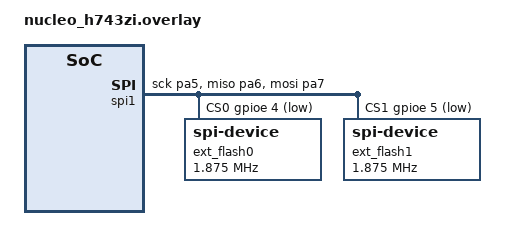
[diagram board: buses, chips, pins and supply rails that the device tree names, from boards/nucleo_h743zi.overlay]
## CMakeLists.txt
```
# Copyright (c) 2026 The FINCH CubeSat Project Flight Software Contributors
# SPDX-License-Identifier: Apache-2.0

cmake_minimum_required(VERSION 3.20.0)

list(APPEND DTS_ROOT ${CMAKE_CURRENT_SOURCE_DIR})

find_package(Zephyr REQUIRED HINTS $ENV{ZEPHYR_BASE})

project(external_flash_id_test)

target_sources(app PRIVATE src/main.c)
```

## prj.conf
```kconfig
# SPDX-License-Identifier: Apache-2.0

CONFIG_ZTEST=y

CONFIG_LOG=y
CONFIG_LOG_DEFAULT_LEVEL=3
CONFIG_COMPILER_WARNINGS_AS_ERRORS=y

CONFIG_GPIO=y
CONFIG_SPI=y
CONFIG_SERIAL=y
CONFIG_CONSOLE=y
CONFIG_UART_CONSOLE=y
CONFIG_PRINTK=y

# Keep data-changing flash/filesystem drivers out of this standalone test.
CONFIG_FLASH=n
CONFIG_FILE_SYSTEM=n
```

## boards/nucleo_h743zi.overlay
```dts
/*
 * Copyright (c) 2026 The FINCH CubeSat Project Flight Software Contributors
 *
 * SPDX-License-Identifier: Apache-2.0
 *
 * Test-only SPI routing for the dual external SEMPER flash board:
 *   SCLK  -> PA5 (SPI1_SCK)
 *   MISO  -> PA6 (SPI1_MISO)
 *   MOSI  -> PA7 (SPI1_MOSI)
 *   nCS0  -> PE4
 *   nCS1  -> PE5
 *
 * PA7 conflicts with Ethernet RMII_CRS_DV, so Ethernet is disabled for
 * this test. The child nodes use the test-local driverless SPI binding: the test
 * performs raw, non-destructive identification transactions without a flash
 * driver.
 */

#include <zephyr/dt-bindings/gpio/gpio.h>

&mac {
	status = "disabled";
};

&mdio {
	status = "disabled";
};

&spi1 {
	pinctrl-0 = <&spi1_sck_pa5 &spi1_miso_pa6 &spi1_mosi_pa7>;
	pinctrl-names = "default";
	cs-gpios = <&gpioe 4 (GPIO_ACTIVE_LOW | GPIO_PULL_UP)>,
		   <&gpioe 5 (GPIO_ACTIVE_LOW | GPIO_PULL_UP)>;
	status = "okay";

	ext_flash0: flash-id@0 {
		compatible = "zephyr,spi-device";
		reg = <0>;
		spi-max-frequency = <1875000>;
		spi-cs-setup-delay-ns = <1000>;
		spi-cs-hold-delay-ns = <1000>;
	};

	ext_flash1: flash-id@1 {
		compatible = "zephyr,spi-device";
		reg = <1>;
		spi-max-frequency = <1875000>;
		spi-cs-setup-delay-ns = <1000>;
		spi-cs-hold-delay-ns = <1000>;
	};
};
```

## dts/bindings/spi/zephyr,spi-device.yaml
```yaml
# Copyright (c) 2026 The FINCH CubeSat Project Flight Software Contributors
# SPDX-License-Identifier: Apache-2.0

description: Driverless SPI device for the external flash identification test
compatible: "zephyr,spi-device"
include: spi-device.yaml
```

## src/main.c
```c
/*
 * Copyright (c) 2026 The FINCH CubeSat Project Flight Software Contributors
 * SPDX-License-Identifier: Apache-2.0
 */

#include <errno.h>
#include <stddef.h>
#include <stdint.h>
#include <string.h>
#include <zephyr/device.h>
#include <zephyr/devicetree.h>
#include <zephyr/drivers/gpio.h>
#include <zephyr/drivers/spi.h>
#include <zephyr/kernel.h>
#include <zephyr/sys/printk.h>
#include <zephyr/sys/util.h>
#include <zephyr/ztest.h>

#define FLASH_SPI_OPERATION (SPI_OP_MODE_MASTER | SPI_WORD_SET(8) | SPI_TRANSFER_MSB)

BUILD_ASSERT(!IS_ENABLED(CONFIG_FINCH_OBC_FLASH) &&
	     !IS_ENABLED(CONFIG_FINCH_OBC_LITTLEFS) && !IS_ENABLED(CONFIG_FLASH) &&
	     !IS_ENABLED(CONFIG_FILE_SYSTEM), "This test must remain standalone and read-only");

static const struct spi_dt_spec flashes[] = {
	SPI_DT_SPEC_GET(DT_NODELABEL(ext_flash0), FLASH_SPI_OPERATION),
	SPI_DT_SPEC_GET(DT_NODELABEL(ext_flash1), FLASH_SPI_OPERATION),
};

/* Only these four read commands may reach the bus. No flash driver is enabled.
 * RDID/RDSR2/RDCR require factory VRGLAT=0 (CFR3V[7:6]). No mode changes.
 */
static int read_command(size_t index, uint8_t command, uint8_t *data, size_t length)
{
	uint8_t tx[7] = {command};
	uint8_t rx[sizeof(tx)] = {0};

	if (index >= ARRAY_SIZE(flashes) || data == NULL || length >= sizeof(tx) ||
	    !((command == 0x9f && length == 6) ||
	      ((command == 0x05 || command == 0x07 || command == 0x35) && length == 1))) {
		return -EINVAL;
	}

	struct spi_buf tx_buf = {.buf = tx, .len = length + 1};
	struct spi_buf rx_buf = {.buf = rx, .len = length + 1};
	const struct spi_buf_set tx_set = {.buffers = &tx_buf, .count = 1};
	const struct spi_buf_set rx_set = {.buffers = &rx_buf, .count = 1};
	int ret = spi_transceive_dt(&flashes[index], &tx_set, &rx_set);

	if (ret == 0) {
		memcpy(data, &rx[1], length);
	}
	return ret;
}

static void *setup(void)
{
	/* Deassert BOTH CS lines before either chip receives clocks. */
	for (size_t i = 0; i < ARRAY_SIZE(flashes); i++) {
		zassert_true(spi_cs_is_gpio_dt(&flashes[i]), "GPIO chip select missing");
		zassert_true(spi_is_ready_dt(&flashes[i]), "SPI or PE%u CS not ready",
			     (unsigned int)(i + 4));
		zassert_equal(flashes[i].config.cs.gpio.port, DEVICE_DT_GET(DT_NODELABEL(gpioe)),
			      "Expected GPIOE chip select");
		zassert_equal(flashes[i].config.cs.gpio.pin, i + 4, "Expected PE4/PE5");
		zassert_true(flashes[i].config.cs.gpio.dt_flags & GPIO_ACTIVE_LOW,
			     "Expected active-low CS");
		int ret = gpio_pin_configure_dt(&flashes[i].config.cs.gpio,
					       GPIO_OUTPUT_INACTIVE);

		zassert_ok(ret, "PE%u CS configuration failed (%d)",
			   (unsigned int)(i + 4), ret);
	}
	k_msleep(100);
	printk("External flash read-only test: SPI1, PE4/PE5, mode 0, requested 1875000 Hz\n");
	printk("Requires 1-1-1 SPI and factory zero register latency; no settings changed\n");
	return NULL;
}

static void identify(size_t index)
{
	uint8_t id[6] = {0};
	uint8_t sr1 = 0, sr2 = 0, cr1 = 0;
	unsigned int chip = (unsigned int)index;
	int ret = read_command(index, 0x9f, id, sizeof(id));

	zassert_ok(ret, "Flash %u RDID failed (%d)", chip, ret);
	printk("Flash %u (PE%u) ID: %02X %02X %02X %02X %02X %02X\n",
	       chip, chip + 4, (unsigned int)id[0], (unsigned int)id[1],
	       (unsigned int)id[2], (unsigned int)id[3], (unsigned int)id[4],
	       (unsigned int)id[5]);
	zassert_equal(id[0], 0x34, "Unexpected manufacturer (or wiring/mode/latency)");
	zassert_true(id[1] == 0x2a || id[1] == 0x2b, "Expected SEMPER HL-T/HS-T");
	zassert_true(id[2] == 0x1a || id[2] == 0x1b, "Expected 512 Mbit or 1 Gbit");
	zassert_equal(id[3], 0x0f, "Unexpected ID length");
	zassert_equal(id[5], 0x90, "Unexpected SEMPER family");

	ret = read_command(index, 0x05, &sr1, 1);
	zassert_ok(ret, "Flash %u RDSR1 failed (%d)", chip, ret);
	ret = read_command(index, 0x07, &sr2, 1);
	zassert_ok(ret, "Flash %u RDSR2 failed (%d)", chip, ret);
	ret = read_command(index, 0x35, &cr1, 1);
	zassert_ok(ret, "Flash %u RDCR1 failed (%d)", chip, ret);
	printk("Flash %u SR1=%02X SR2=%02X CFR1V=%02X (raw, zero latency)\n",
	       chip, (unsigned int)sr1, (unsigned int)sr2, (unsigned int)cr1);
	printk("Flash %u BUSY=%u WEL=%u; status/configuration recorded, not modified\n",
	       chip, (unsigned int)!!(sr1 & BIT(0)), (unsigned int)!!(sr1 & BIT(1)));
	/* A valid ID is distinct from a clean/idle device. Never clear error flags. */
	zassert_equal(sr1 & (BIT(0) | BIT(1) | BIT(5) | BIT(6)), 0,
		      "Flash busy, write-enabled, or has erase/program error flags; record SR1");
}

ZTEST(external_flash_id, test_flash_0_identification)
{
	identify(0);
}

ZTEST(external_flash_id, test_flash_1_identification)
{
	identify(1);
}

ZTEST_SUITE(external_flash_id, NULL, setup, NULL, NULL, NULL);
```
